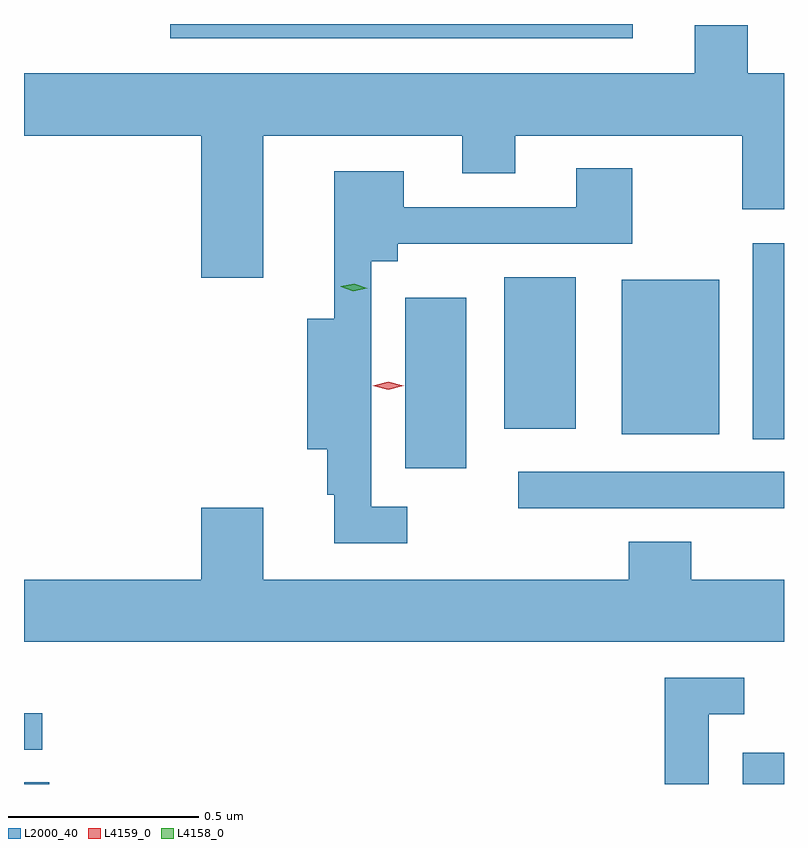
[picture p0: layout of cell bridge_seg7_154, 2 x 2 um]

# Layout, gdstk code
import gdstk
lib = gdstk.Library(unit=1e-6, precision=1e-09)
def R(c, l, rs):  # rectangles x0, y0, x1, y1
    for r in rs: c.add(gdstk.rectangle(r[:2], r[2:], *l))
def P(c, l, *ps):  # polygons
    for p in ps: c.add(gdstk.Polygon(p, *l))
L2000_40 = (2000, 40)
L4158_0 = (4158, 0)
L4159_0 = (4159, 0)

bridge_seg7_154 = lib.new_cell('bridge_seg7_154')
R(bridge_seg7_154, L2000_40, [(560.146,1072.17,560.213,1072.175), (562.037,1072.17,562.146,1072.252), (560.146,1072.26,560.194,1072.356), (561.447,1072.896,562.146,1072.992), (561.149,1073.001,561.31,1073.449), (562.064,1073.077,562.146,1073.593), (561.719,1073.09,561.976,1073.497), (561.41,1073.105,561.598,1073.503), (560.531,1074.132,561.748,1074.17)])
P(bridge_seg7_154, L2000_40, [(560.146,1073.876),(560.612,1073.876),(560.612,1073.502),(560.776,1073.502),(560.776,1073.876),(561.299,1073.876),(561.299,1073.777),(561.439,1073.777),(561.439,1073.876),(562.036,1073.876),(562.036,1073.682),(562.146,1073.682),(562.146,1074.04),(562.05,1074.04),(562.05,1074.167),(561.911,1074.167),(561.911,1074.04),(560.146,1074.04)],
  [(561.154,1072.899),(561.06,1072.899),(561.06,1073.546),(561.13,1073.546),(561.13,1073.592),(561.747,1073.592),(561.747,1073.791),(561.599,1073.791),(561.599,1073.688),(561.145,1073.688),(561.145,1073.782),(560.963,1073.782),(560.963,1073.395),(560.891,1073.395),(560.891,1073.051),(560.944,1073.051),(560.944,1072.931),(560.963,1072.931),(560.963,1072.803),(561.154,1072.803)],
  [(562.146,1072.708),(561.902,1072.708),(561.902,1072.807),(561.737,1072.807),(561.737,1072.708),(560.776,1072.708),(560.776,1072.897),(560.612,1072.897),(560.612,1072.708),(560.146,1072.708),(560.146,1072.544),(562.146,1072.544)],
  [(561.948,1072.353),(562.042,1072.353),(562.042,1072.449),(561.832,1072.449),(561.832,1072.17),(561.948,1072.17)])
P(bridge_seg7_154, L4158_0, [(561.013,1073.467),(560.979,1073.479),(560.979,1073.479),(560.979,1073.48),(561.015,1073.487),(561.049,1073.474),(561.049,1073.474),(561.049,1073.474)])
P(bridge_seg7_154, L4159_0, [(561.105,1073.208),(561.064,1073.218),(561.064,1073.218),(561.064,1073.218),(561.104,1073.228),(561.145,1073.218),(561.145,1073.218),(561.145,1073.218)])

lib.write_gds('bridge_seg7_154.gds')
